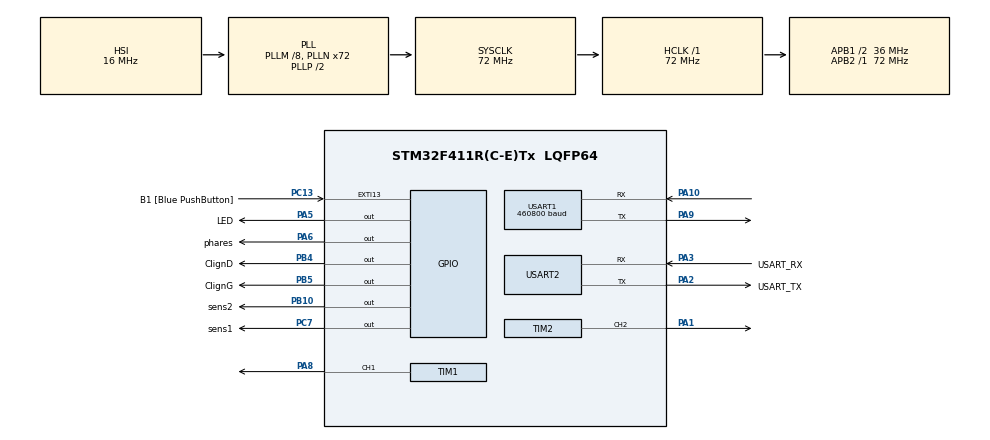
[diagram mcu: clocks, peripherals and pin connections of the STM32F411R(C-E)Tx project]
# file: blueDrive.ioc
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Mcu.Family=STM32F4
Mcu.Name=STM32F411R(C-E)Tx
Mcu.Package=LQFP64
NVIC.PriorityGroup=NVIC_PRIORITYGROUP_0
NVIC.TIM3_IRQn=true\:0\:0\:false\:false\:true\:true\:true
NVIC.USART1_IRQn=true\:0\:0\:false\:false\:true\:true\:true
PA1.Signal=S_TIM2_CH2
PA10.Mode=Asynchronous
PA10.Signal=USART1_RX
PA13.GPIO_Label=TMS
PA13.Mode=Serial_Wire
PA13.Signal=SYS_JTMS-SWDIO
PA14.GPIO_Label=TCK
PA14.Mode=Serial_Wire
PA14.Signal=SYS_JTCK-SWCLK
PA2.GPIO_Label=USART_TX
PA2.Mode=Asynchronous
PA2.Signal=USART2_TX
PA3.GPIO_Label=USART_RX
PA3.Mode=Asynchronous
PA3.Signal=USART2_RX
PA5.GPIO_Label=LED
PA5.Signal=GPIO_Output
PA6.GPIO_Label=phares
PA6.Signal=GPIO_Output
PA8.Signal=S_TIM1_CH1
PA9.Mode=Asynchronous
PA9.Signal=USART1_TX
PB10.GPIO_Label=sens2
PB10.Signal=GPIO_Output
PB3.GPIO_Label=SWO
PB3.Signal=SYS_JTDO-SWO
PB4.GPIO_Label=ClignD
PB4.Signal=GPIO_Output
PB5.GPIO_Label=ClignG
PB5.Signal=GPIO_Output
PC13-ANTI_TAMP.GPIO_Label=B1 [Blue PushButton]
PC13-ANTI_TAMP.GPIO_ModeDefaultEXTI=GPIO_MODE_IT_FALLING
PC13-ANTI_TAMP.Signal=GPXTI13
PC14-OSC32_IN.Mode=LSE-External-Oscillator
PC14-OSC32_IN.Signal=RCC_OSC32_IN
PC15-OSC32_OUT.Mode=LSE-External-Oscillator
PC15-OSC32_OUT.Signal=RCC_OSC32_OUT
PC7.GPIO_Label=sens1
PC7.Signal=GPIO_Output
PH0\ -\ OSC_IN.Mode=HSE-External-Clock-Source
PH0\ -\ OSC_IN.Signal=RCC_OSC_IN
PH1\ -\ OSC_OUT.Mode=HSE-External-Clock-Source
PH1\ -\ OSC_OUT.Signal=RCC_OSC_OUT
ProjectManager.HeapSize=0x200
ProjectManager.StackSize=0x400
ProjectManager.TargetToolchain=STM32CubeIDE
RCC.48MHZClocksFreq_Value=36000000
RCC.AHBFreq_Value=72000000
RCC.APB1CLKDivider=RCC_HCLK_DIV2
RCC.APB1Freq_Value=36000000
RCC.APB1TimFreq_Value=72000000
RCC.APB2Freq_Value=72000000
RCC.APB2TimFreq_Value=72000000
RCC.CortexFreq_Value=72000000
RCC.FLatency-AdvancedSettings=FLASH_LATENCY_2
RCC.HCLKFreq_Value=72000000
RCC.HSE_VALUE=8000000
RCC.HSI_VALUE=16000000
RCC.PLLM=8
RCC.PLLN=72
RCC.SYSCLKFreq_VALUE=72000000
RCC.SYSCLKSource=RCC_SYSCLKSOURCE_PLLCLK
RCC.VCOOutputFreq_Value=144000000
SH.S_TIM1_CH1.0=TIM1_CH1,PWM Generation1 CH1
SH.S_TIM2_CH2.0=TIM2_CH2,PWM Generation2 CH2
TIM1.Channel-PWM\ Generation1\ CH1=TIM_CHANNEL_1
TIM1.Period=1000-1
TIM1.Prescaler=320-1
TIM2.Channel-PWM\ Generation2\ CH2=TIM_CHANNEL_2
TIM2.Period=1000-1
TIM2.Prescaler=1440-1
TIM3.Period=10000-1
TIM3.Prescaler=3600-1
USART1.BaudRate=460800
USART1.VirtualMode=VM_ASYNC
USART2.VirtualMode=VM_ASYNC
VP_TIM1_VS_ClockSourceINT.Mode=Internal
VP_TIM2_VS_ClockSourceINT.Mode=Internal
VP_TIM3_VS_ClockSourceINT.Mode=Internal
board=NUCLEO-F411RE

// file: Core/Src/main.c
/* USER CODE BEGIN Header */
/**
  ******************************************************************************
  * @file           : main.c
  * @brief          : Main program body
  ******************************************************************************
  * @attention
  *
  * <h2><center>&copy; Copyright (c) 2021 STMicroelectronics.
  * All rights reserved.</center></h2>
  *
  * This software component is licensed by ST under BSD 3-Clause license,
  * the "License"; You may not use this file except in compliance with the
  * License. You may obtain a copy of the License at:
  *                        opensource.org/licenses/BSD-3-Clause
  *
  ******************************************************************************
  */
/* USER CODE END Header */
#include "main.h"
#include "tim.h"
#include "usart.h"
#include "gpio.h"

/* USER CODE BEGIN Includes */
#include "fcts.h"
/* USER CODE END Includes */

/* USER CODE BEGIN PV */
UART_HandleTypeDef huart1;

// Les messages envoyés par l'application sont tous composés de 7 caractères.
#define BUFFERDATA 7

// Buffer pour stocker les données reçues.
char rxData[BUFFERDATA];

// Flag pour indiquer la réception d'un message.
uint8_t newMsg = 0;

/* USER CODE END PV */

void SystemClock_Config(void);

int main(void)
{

  /* MCU Configuration--------------------------------------------------------*/

  /* Reset of all peripherals, Initializes the Flash interface and the Systick. */
  HAL_Init();

  /* Configure the system clock */
  SystemClock_Config();

  /* Initialize all configured peripherals */
  MX_GPIO_Init();
  MX_USART2_UART_Init();
  MX_TIM1_Init();
  MX_TIM2_Init();
  MX_TIM3_Init();
  MX_USART1_UART_Init();
  /* USER CODE BEGIN 2 */
  // Initialisation des timers
  HAL_TIM_PWM_Start(&htim1, TIM_CHANNEL_1); // hacheur moteur
  HAL_TIM_PWM_Start(&htim2, TIM_CHANNEL_2); // servo-moteur
  HAL_TIM_Base_Start_IT(&htim3);

  HAL_UART_Receive_IT(&huart1, (uint8_t*)rxData, 7);

  // On initialise le sens du moteur (avance)
  sens_moteur(1);

  /* USER CODE END 2 */

  /* Infinite loop */
  /* USER CODE BEGIN WHILE */
  while (1)
  {
	  if(newMsg){
		  strcpy(buffer,rxData);
		  car_command();

		  // On vide les buffers
		  memset(buffer, 0, sizeof(buffer));
		  memset(rxData, 0, sizeof(rxData));
		  newMsg = 0;
	  }
    /* USER CODE END WHILE */

  }
}

void SystemClock_Config(void)
{
  RCC_OscInitTypeDef RCC_OscInitStruct = {0};
  RCC_ClkInitTypeDef RCC_ClkInitStruct = {0};

  /** Configure the main internal regulator output voltage
  */
  __HAL_RCC_PWR_CLK_ENABLE();
  __HAL_PWR_VOLTAGESCALING_CONFIG(PWR_REGULATOR_VOLTAGE_SCALE1);
  /** Initializes the RCC Oscillators according to the specified parameters
  * in the RCC_OscInitTypeDef structure.
  */
  RCC_OscInitStruct.OscillatorType = RCC_OSCILLATORTYPE_HSI;
  RCC_OscInitStruct.HSIState = RCC_HSI_ON;
  RCC_OscInitStruct.HSICalibrationValue = RCC_HSICALIBRATION_DEFAULT;
  RCC_OscInitStruct.PLL.PLLState = RCC_PLL_ON;
  RCC_OscInitStruct.PLL.PLLSource = RCC_PLLSOURCE_HSI;
  RCC_OscInitStruct.PLL.PLLM = 8;
  RCC_OscInitStruct.PLL.PLLN = 72;
  RCC_OscInitStruct.PLL.PLLP = RCC_PLLP_DIV2;
  RCC_OscInitStruct.PLL.PLLQ = 4;
  if (HAL_RCC_OscConfig(&RCC_OscInitStruct) != HAL_OK)
  {
    Error_Handler();
  }
  /** Initializes the CPU, AHB and APB buses clocks
  */
  RCC_ClkInitStruct.ClockType = RCC_CLOCKTYPE_HCLK|RCC_CLOCKTYPE_SYSCLK
                              |RCC_CLOCKTYPE_PCLK1|RCC_CLOCKTYPE_PCLK2;
  RCC_ClkInitStruct.SYSCLKSource = RCC_SYSCLKSOURCE_PLLCLK;
  RCC_ClkInitStruct.AHBCLKDivider = RCC_SYSCLK_DIV1;
  RCC_ClkInitStruct.APB1CLKDivider = RCC_HCLK_DIV2;
  RCC_ClkInitStruct.APB2CLKDivider = RCC_HCLK_DIV1;

  if (HAL_RCC_ClockConfig(&RCC_ClkInitStruct, FLASH_LATENCY_2) != HAL_OK)
  {
    Error_Handler();
  }
}

/* USER CODE BEGIN 4 */
// L'objectif est d'avoir une interruption la plus rapide possible
// On met donc à jour un flag pour traiter les données dans la boucle while(1) du main
void HAL_UART_RxCpltCallback(UART_HandleTypeDef *huart){
	if(huart->Instance==USART1){
		newMsg = 1;
		HAL_UART_Receive_IT(&huart1,(uint8_t*)rxData,7);
	}
}
/* USER CODE END 4 */

void Error_Handler(void)
{
  __disable_irq();
  while (1)
  {
  }
}

/************************ (C) COPYRIGHT STMicroelectronics *****END OF FILE****/
